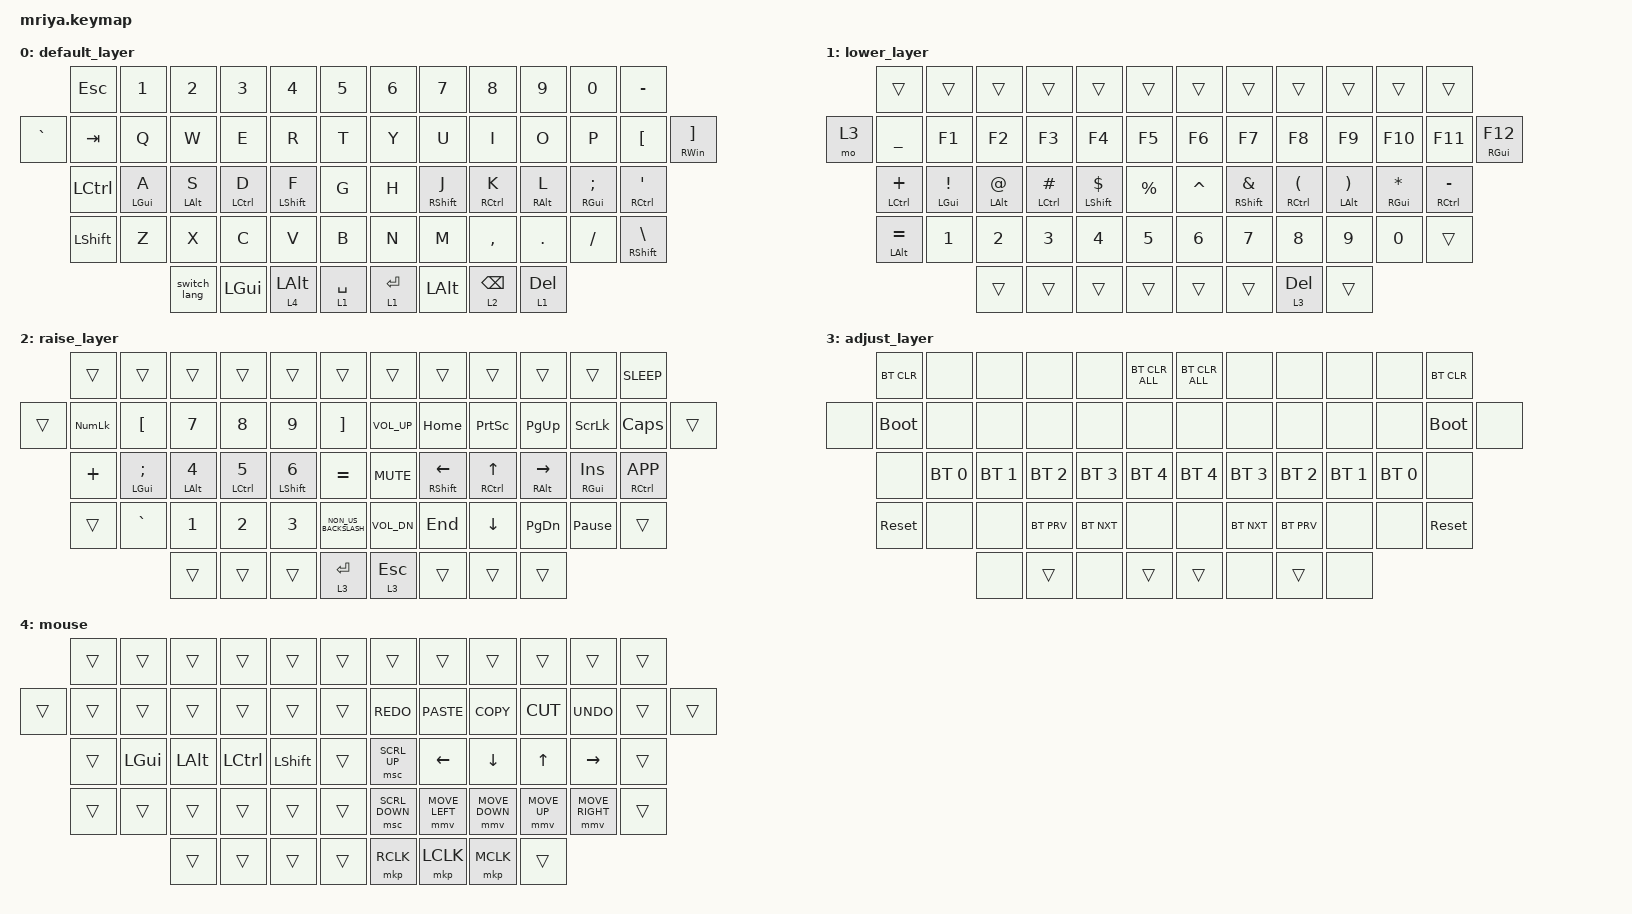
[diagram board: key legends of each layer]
/*
 * Copyright (c) 2023 Andrei Gaevskii
 *
 * SPDX-License-Identifier: MIT
 */

#include <behaviors.dtsi>
#include <dt-bindings/zmk/bt.h>
#include <dt-bindings/zmk/keys.h>
#include <dt-bindings/zmk/pointing.h>

#define DEF 0
#define LWR 1
#define RSE 2
#define ADJ 3

&lt { quick_tap_ms = <200>; };

&mt { quick_tap_ms = <200>; };

/ {
    macros {
        en_lang_on: en_lang_on {
            compatible = "zmk,behavior-macro";
            label = "EN_LANG_ON";
            #binding-cells = <0>;
            bindings = <&kp LC(LS(LG(F11)))>;
        };

        ru_lang_on: ru_lang_on {
            compatible = "zmk,behavior-macro";
            label = "RU_LANG_ON";
            #binding-cells = <0>;
            bindings = <&kp LC(LS(LG(F12)))>;
        };
    };

    behaviors {
        switch_lang: switch_lang {
            compatible = "zmk,behavior-tap-dance";
            label = "SWITCH_LANG";
            #binding-cells = <0>;
            bindings = <&en_lang_on>, <&ru_lang_on>;
        };

        left_brackets_rctrl: left_brackets_rctrl {
            compatible = "zmk,behavior-tap-dance";
            label = "LEFT_BRACKETS_RCTRL";
            #binding-cells = <0>;
            bindings = <&mt RCTRL LEFT_PARENTHESIS>, <&kp LEFT_BRACKET>;
        };

        right_brackets_ralt: right_brackets_ralt {
            compatible = "zmk,behavior-tap-dance";
            label = "RIGHT_BRACKETS_RALT";
            #binding-cells = <0>;
            bindings = <&mt RALT RIGHT_PARENTHESIS>, <&kp RIGHT_BRACKET>;
        };
    };

    combos {
        compatible = "zmk,combos";

        left_gui_shift {
            bindings = <&sk LG(LEFT_SHIFT)>;
            key-positions = <27 30>;
            layers = <0 2 1>;
        };

        left_brackets {
            bindings = <&kp LEFT_BRACKET>;
            key-positions = <33 34>;
        };

        right_brackets {
            bindings = <&kp RIGHT_BRACKET>;
            key-positions = <34 35>;
        };

        bluetoth_conf_layer {
            bindings = <&sl 3>;
            key-positions = <53 12>;
        };
    };

    keymap {
        compatible = "zmk,keymap";

        default_layer {
            bindings = <
           &kp ESC    &kp N1      &kp N2        &kp N3        &kp N4        &kp N5         &kp N6     &kp N7        &kp N8           &kp N9      &kp N0         &kp MINUS
&kp GRAVE  &kp TAB    &kp Q       &kp W         &kp E         &kp R         &kp T          &kp Y      &kp U         &kp I            &kp O       &kp P          &kp LBKT        &mt RWIN RBKT
           &kp LCTRL  &mt LGUI A  &mt LALT S    &mt LCTRL D   &mt LSHIFT F  &kp G          &kp H      &mt RSHIFT J  &mt RCTRL K      &mt RALT L  &mt RGUI SEMI  &mt RCTRL SQT
           &kp LSHFT  &kp Z       &kp X         &kp C         &kp V         &kp B          &kp N      &kp M         &kp COMMA        &kp DOT     &kp FSLH       &mt RSHFT BSLH
                                  &switch_lang  &kp LEFT_GUI  &lt 4 LALT    &lt 1 SPACE    &lt 1 RET  &kp LEFT_ALT  &lt 2 BACKSPACE  &lt 1 DEL
            >;
        };

        lower_layer {
            bindings = <
       &trans          &trans             &trans           &trans          &trans           &trans       &trans     &trans           &trans                      &trans                          &trans             &trans
&mo 3  &kp UNDER       &kp F1             &kp F2           &kp F3          &kp F4           &kp F5       &kp F6     &kp F7           &kp F8                      &kp F9                          &kp F10            &kp F11          &mt RGUI F12
       &mt LCTRL PLUS  &mt LEFT_GUI EXCL  &mt LEFT_ALT AT  &mt LCTRL HASH  &mt LSHIFT DLLR  &kp PRCNT    &kp CARET  &mt RSHIFT AMPS  &mt RCTRL LEFT_PARENTHESIS  &mt LEFT_ALT RIGHT_PARENTHESIS  &mt RGUI ASTERISK  &mt RCTRL MINUS
       &mt LALT EQUAL  &kp N1             &kp N2           &kp N3          &kp N4           &kp N5       &kp N6     &kp N7           &kp N8                      &kp N9                          &kp N0             &trans
                                          &trans           &trans          &trans           &trans       &trans     &trans           &lt 3 DEL                   &trans
            >;
        };

        raise_layer {
            bindings = <
        &trans      &trans              &trans             &trans              &trans               &trans                  &trans        &trans           &trans        &trans          &trans           &kp K_SLEEP
&trans  &kp KP_NUM  &kp LEFT_BRACKET    &kp N7             &kp NUMBER_8        &kp NUMBER_9         &kp RIGHT_BRACKET       &kp C_VOL_UP  &kp HOME         &kp PSCRN     &kp PG_UP       &kp SLCK         &kp CAPS         &trans
        &kp PLUS    &mt LGUI SEMICOLON  &mt LALT NUMBER_4  &mt LCTRL NUMBER_5  &mt LSHIFT NUMBER_6  &kp EQUAL               &kp C_MUTE    &mt RSHIFT LEFT  &mt RCTRL UP  &mt RALT RIGHT  &mt RGUI INS     &mt RCTRL K_APP
        &trans      &kp GRAVE           &kp NUMBER_1       &kp NUMBER_2        &kp NUMBER_3         &kp NON_US_BACKSLASH    &kp C_VOL_DN  &kp END          &kp DOWN      &kp PG_DN       &kp PAUSE_BREAK  &trans
                                        &trans             &trans              &trans               &lt 3 RET               &lt 3 ESC     &trans           &trans        &trans
            >;
        };

        adjust_layer {
            bindings = <
       &bt BT_CLR   &none         &none         &none         &none         &bt BT_CLR_ALL    &bt BT_CLR_ALL  &none         &none         &none         &none         &bt BT_CLR
&none  &bootloader  &none         &none         &none         &none         &none             &none           &none         &none         &none         &none         &bootloader  &none
       &none        &bt BT_SEL 0  &bt BT_SEL 1  &bt BT_SEL 2  &bt BT_SEL 3  &bt BT_SEL 4      &bt BT_SEL 4    &bt BT_SEL 3  &bt BT_SEL 2  &bt BT_SEL 1  &bt BT_SEL 0  &none
       &sys_reset   &none         &none         &bt BT_PRV    &bt BT_NXT    &none             &none           &bt BT_NXT    &bt BT_PRV    &none         &none         &sys_reset
                                  &none         &trans        &none         &trans            &trans          &none         &trans        &none
            >;
        };

        mouse {
            bindings = <
        &trans  &trans    &trans    &trans     &trans     &trans    &trans          &trans          &trans          &trans        &trans           &trans
&trans  &trans  &trans    &trans    &trans     &trans     &trans    &kp K_REDO      &kp K_PASTE     &kp K_COPY      &kp K_CUT     &kp K_UNDO       &trans  &trans
        &trans  &kp LGUI  &kp LALT  &kp LCTRL  &kp LSHFT  &trans    &msc SCRL_UP    &kp LEFT        &kp DOWN        &kp UP        &kp RIGHT        &trans
        &trans  &trans    &trans    &trans     &trans     &trans    &msc SCRL_DOWN  &mmv MOVE_LEFT  &mmv MOVE_DOWN  &mmv MOVE_UP  &mmv MOVE_RIGHT  &trans
                          &trans    &trans     &trans     &trans    &mkp RCLK       &mkp LCLK       &mkp MCLK       &trans
            >;
        };
    };
};
